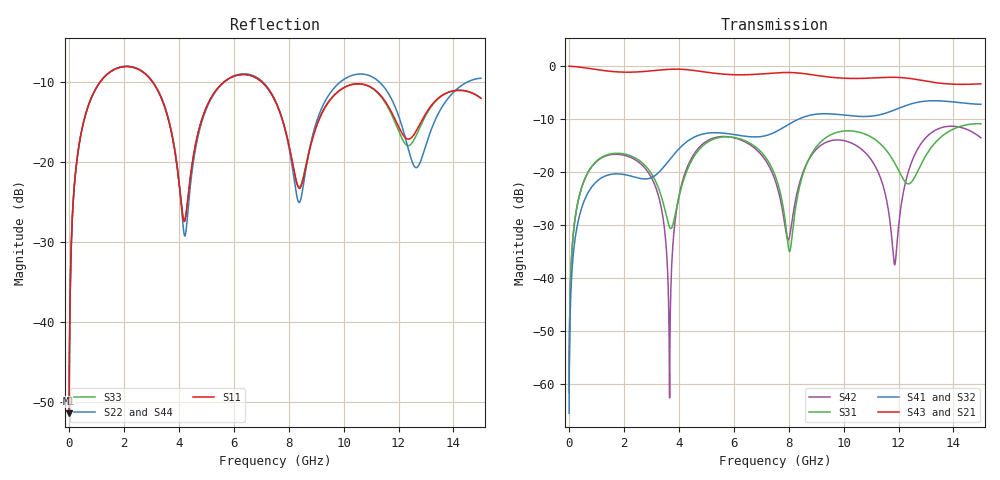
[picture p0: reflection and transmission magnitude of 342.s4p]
! Created with skrf 1.8.0 (http://scikit-rf.org).
# GHz S RI R 50.0
!freq ReS11 ImS11 ReS12 ImS12 ReS13 ImS13
! ReS14 ImS14
! ReS21 ImS21 ReS22 ImS22 ReS23 ImS23
! ReS24 ImS24
! ReS31 ImS31 ReS32 ImS32 ReS33 ImS33
! ReS34 ImS34
! ReS41 ImS41 ReS42 ImS42 ReS43 ImS43
! ReS44 ImS44
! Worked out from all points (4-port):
!   2499 points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, 5 MHz to 15 GHz, reference 50 ohm
!   strongest paths, dB at 5 MHz, 3.476 GHz, 7.19 GHz, 11.1 GHz, 15 GHz:
!     S43: 0.0, -0.7, -1.4, -2.2, -3.3
!     S21: 0.0, -0.7, -1.4, -2.3, -3.4
!     S41: -65.5, -18.9, -13.1, -9.4, -7.2
!     S32: -65.5, -18.9, -13.1, -9.4, -7.2
!     S31: -61.6, -26.7, -17.4, -13.7, -10.9
!     S42: -61.6, -30.6, -18.0, -18.4, -13.5
!   lowest |S11| = -51.4 dB at 5 MHz (marker M1), VSWR 1.01, Z = 50.2 + j0.163 ohm
!   |S11| at or under -10 dB: start of sweep to 1.139 GHz; 3.04 GHz to 5.65 GHz (2.611 GHz wide, 60.1 % of centre); 7.02 GHz to end of sweep
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0.005  0.00213 0.00162  0.9978 -0.00414  0.000108 0.000829  -0.000105 -0.000523
       0.9978 -0.00414  0.00213 0.00162  -0.000105 -0.000523  0.000108 0.000829
       0.000108 0.000829  -0.000105 -0.000523  0.00213 0.00162  0.9978 -0.00414
       -0.000105 -0.000523  0.000108 0.000829  0.9978 -0.00414  0.00213 0.00162
1.219258  0.2778 0.1764  0.5332 -0.7377  0.1289 0.0533  -0.0893 -0.00401
          0.5332 -0.7377  0.2796 0.1752  -0.0893 -0.00407  0.1237 0.0606
          0.1289 0.0533  -0.0893 -0.00407  0.2779 0.1764  0.5332 -0.7377
          -0.0893 -0.00401  0.1237 0.0606  0.5332 -0.7377  0.2796 0.1752
3.664027  0.0986 -0.1404  -0.822 -0.4405  -0.0258 -0.0157  -0.0578 0.1176
          -0.822 -0.4405  0.093 -0.1484  -0.0584 0.1173  0.000572 0.000478
          -0.0258 -0.0157  -0.0584 0.1173  0.0991 -0.1403  -0.8219 -0.4406
          -0.0578 0.1176  0.000572 0.000478  -0.8219 -0.4406  0.0927 -0.1488
5.033347  0.1743 0.1428  -0.7375 0.4676  0.1459 0.1226  0.1642 0.1651
          -0.7375 0.4676  0.1671 0.1438  0.1632 0.1656  0.157 0.1197
          0.1459 0.1226  0.1632 0.1656  0.175 0.1418  -0.7378 0.4674
          0.1642 0.1651  0.157 0.1197  -0.7378 0.4674  0.1655 0.1438
8.409754  0.0684 -0.000523  0.8456 0.1411  0.0122 0.0743  0.041 -0.3175
          0.8456 0.1411  0.0562 0.00354  0.044 -0.3168  -0.00527 0.0811
          0.0122 0.0743  0.044 -0.3168  0.0699 0.000639  0.8456 0.1411
          0.041 -0.3175  -0.00527 0.0811  0.8456 0.1411  0.0541 0.00411
11.1484  0.2743 -0.0618  -0.1374 -0.7605  0.0803 -0.1864  -0.3221 0.1115
         -0.1374 -0.7605  0.3111 -0.1143  -0.3222 0.1043  0.0889 -0.0718
         0.0803 -0.1864  -0.3222 0.1043  0.2697 -0.0712  -0.1376 -0.7619
         -0.3221 0.1115  0.0889 -0.0718  -0.1376 -0.7619  0.3087 -0.1041
15  0.2384 -0.0734  -0.1494 0.6631  0.2058 -0.1983  0.4361 -0.0019
    -0.1494 0.6631  0.3293 -0.0509  0.4346 0.00573  0.2083 -0.0317
    0.2058 -0.1983  0.4346 0.00573  0.2391 -0.0748  -0.1499 0.6633
    0.4361 -0.0019  0.2083 -0.0317  -0.1499 0.6633  0.3269 -0.0501
